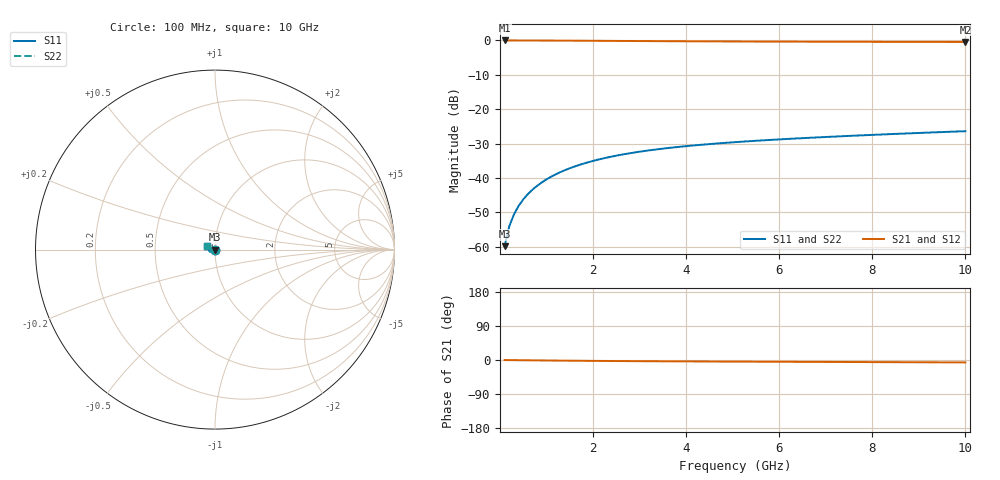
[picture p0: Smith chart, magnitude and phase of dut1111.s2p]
! Touchstone file exported from HFSS 2024.1.0
!  File:  C:/UserFiles/LocalFiles/RDL_TSV_Batchsim/temp_TSV1_1111_1780068130.aedt
!  Generated:  11:27:33 PM May 29, 2026
!  Design:  TSV1
!  Project:  temp_TSV1_1111_1780068130
!  Setup:  Setup1
!  Solution:  Sweep
! Variables:
!  dtsv = 7.24um
!  hbump = 3um
!  htsv = 99.31um
!  lrdl = 252.1521522um
!  p = 40
!  p1 = 51um
!  t = 500um
!  trdl = 3um
!  wrdl = 24.89489489um
# GHz S MA R 50.000000
! Terminal data exported
! Port[1] = TSV22_T1
! Port[2] = TSV22_T2
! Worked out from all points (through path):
!   100 points, 100 MHz to 10 GHz, reference 50 ohm
!   highest |S21| = 0.00 dB at 100 MHz (marker M1); lowest = -0.4 dB at 10 GHz (marker M2)
!   lowest |S11| = -59.8 dB at 100 MHz (marker M3), VSWR 1.00, Z = 50 - j0.0981 ohm
!   |S11| at or under -10 dB: start of sweep to end of sweep
!   |S22| runs from -59.8 to -26.4 dB; largest |S21 - S12| = 6.1e-15
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0.1  0.00102 -74.0  0.9996 -0.1  0.9996 -0.1  0.00102 -74.0
! Gamma 0 0 0 0
! Port Impedance 50 0 50 0
0.2  0.00198 -84.7  0.9995 -0.3  0.9995 -0.3  0.00198 -84.7
0.3  0.002949 -89.8  0.9993 -0.4  0.9993 -0.4  0.002949 -89.8
0.4  0.003917 -93.3  0.9991 -0.5  0.9991 -0.5  0.003917 -93.3
0.5  0.004879 -96.2  0.9988 -0.7  0.9988 -0.7  0.004879 -96.2
0.6  0.005834 -98.8  0.9984 -0.8  0.9984 -0.8  0.005834 -98.8
0.7  0.006779 -101.2  0.998 -0.9  0.998 -0.9  0.006779 -101.2
0.8  0.007713 -103.5  0.9975 -1.0  0.9975 -1.0  0.007713 -103.5
0.9  0.008634 -105.7  0.997 -1.2  0.997 -1.2  0.008634 -105.7
1.1  0.01044 -109.9  0.9957 -1.4  0.9957 -1.4  0.01044 -109.9
1.4  0.01302 -115.8  0.9936 -1.7  0.9936 -1.7  0.01302 -115.8
1.6  0.01466 -119.6  0.992 -1.9  0.992 -1.9  0.01466 -119.6
1.8  0.01622 -123.2  0.9904 -2.1  0.9904 -2.1  0.01622 -123.2
2.1  0.01843 -128.4  0.9878 -2.4  0.9878 -2.4  0.01843 -128.4
2.5  0.02111 -135.0  0.9843 -2.7  0.9843 -2.7  0.02111 -135.0
2.9  0.02353 -141.0  0.9808 -3.0  0.9808 -3.0  0.02353 -141.0
3.4  0.02622 -148.0  0.9768 -3.4  0.9768 -3.4  0.02622 -148.0
4.2  0.02989 -158.0  0.9711 -3.8  0.9711 -3.8  0.02989 -158.0
5.1  0.03336 -167.6  0.9658 -4.3  0.9658 -4.3  0.03336 -167.6
6.7  0.03856 178.2  0.959 -5.0  0.959 -5.0  0.03856 178.2
8.4  0.04347 166.1  0.9542 -5.7  0.9542 -5.7  0.04347 166.1
10  0.04793 156.8  0.9509 -6.4  0.9509 -6.4  0.04793 156.8
